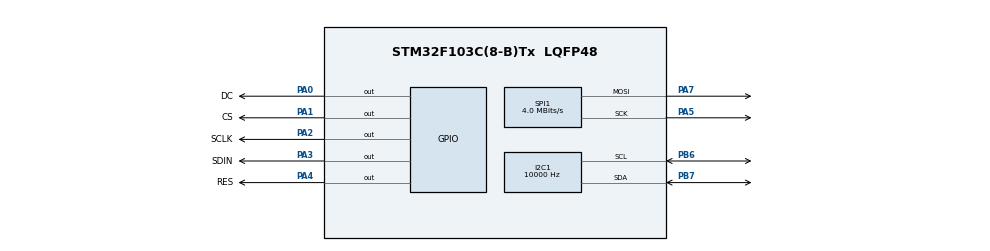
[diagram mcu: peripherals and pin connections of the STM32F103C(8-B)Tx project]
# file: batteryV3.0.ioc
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Dma.I2C1_RX.2.Direction=DMA_PERIPH_TO_MEMORY
Dma.I2C1_RX.2.Instance=DMA1_Channel7
Dma.I2C1_RX.2.MemDataAlignment=DMA_MDATAALIGN_BYTE
Dma.I2C1_RX.2.MemInc=DMA_MINC_ENABLE
Dma.I2C1_RX.2.Mode=DMA_NORMAL
Dma.I2C1_RX.2.PeriphDataAlignment=DMA_PDATAALIGN_BYTE
Dma.I2C1_RX.2.PeriphInc=DMA_PINC_DISABLE
Dma.I2C1_RX.2.Priority=DMA_PRIORITY_LOW
Dma.I2C1_TX.1.Direction=DMA_MEMORY_TO_PERIPH
Dma.I2C1_TX.1.Instance=DMA1_Channel6
Dma.I2C1_TX.1.MemDataAlignment=DMA_MDATAALIGN_BYTE
Dma.I2C1_TX.1.MemInc=DMA_MINC_ENABLE
Dma.I2C1_TX.1.Mode=DMA_NORMAL
Dma.I2C1_TX.1.PeriphDataAlignment=DMA_PDATAALIGN_BYTE
Dma.I2C1_TX.1.PeriphInc=DMA_PINC_DISABLE
Dma.I2C1_TX.1.Priority=DMA_PRIORITY_LOW
Dma.Request0=SPI1_TX
Dma.Request1=I2C1_TX
Dma.Request2=I2C1_RX
Dma.SPI1_TX.0.Direction=DMA_MEMORY_TO_PERIPH
Dma.SPI1_TX.0.Instance=DMA1_Channel3
Dma.SPI1_TX.0.MemDataAlignment=DMA_MDATAALIGN_BYTE
Dma.SPI1_TX.0.MemInc=DMA_MINC_ENABLE
Dma.SPI1_TX.0.Mode=DMA_NORMAL
Dma.SPI1_TX.0.PeriphDataAlignment=DMA_PDATAALIGN_BYTE
Dma.SPI1_TX.0.PeriphInc=DMA_PINC_DISABLE
Dma.SPI1_TX.0.Priority=DMA_PRIORITY_LOW
FREERTOS.Tasks01=defaultTask,0,128,StartDefaultTask,Default,NULL
I2C1.ClockSpeed=10000
I2C1.OwnAddress=0xA
Mcu.Family=STM32F1
Mcu.Name=STM32F103C(8-B)Tx
Mcu.Package=LQFP48
NVIC.DMA1_Channel3_IRQn=true\:5\:0\:false\:false\:true\:true\:false\:true
NVIC.DMA1_Channel6_IRQn=true\:5\:0\:false\:false\:true\:true\:false\:true
NVIC.DMA1_Channel7_IRQn=true\:5\:0\:false\:false\:true\:true\:false\:true
NVIC.I2C1_ER_IRQn=true\:5\:0\:false\:false\:true\:true\:true\:true
NVIC.I2C1_EV_IRQn=true\:5\:0\:false\:false\:true\:true\:true\:true
NVIC.PriorityGroup=NVIC_PRIORITYGROUP_4
NVIC.SPI1_IRQn=true\:5\:0\:false\:false\:true\:true\:true\:true
PA0-WKUP.GPIO_Label=DC
PA0-WKUP.GPIO_ModeDefaultOutputPP=GPIO_MODE_OUTPUT_PP
PA0-WKUP.GPIO_Speed=GPIO_SPEED_FREQ_HIGH
PA0-WKUP.PinState=GPIO_PIN_SET
PA0-WKUP.Signal=GPIO_Output
PA1.GPIO_Label=CS
PA1.GPIO_Speed=GPIO_SPEED_FREQ_HIGH
PA1.PinState=GPIO_PIN_SET
PA1.Signal=GPIO_Output
PA13.Mode=Serial_Wire
PA13.Signal=SYS_JTMS-SWDIO
PA14.Mode=Serial_Wire
PA14.Signal=SYS_JTCK-SWCLK
PA2.GPIO_Label=SCLK
PA2.GPIO_ModeDefaultOutputPP=GPIO_MODE_OUTPUT_PP
PA2.GPIO_Speed=GPIO_SPEED_FREQ_HIGH
PA2.PinState=GPIO_PIN_SET
PA2.Signal=GPIO_Output
PA3.GPIO_Label=SDIN
PA3.GPIO_ModeDefaultOutputPP=GPIO_MODE_OUTPUT_PP
PA3.GPIO_Speed=GPIO_SPEED_FREQ_HIGH
PA3.PinState=GPIO_PIN_SET
PA3.Signal=GPIO_Output
PA4.GPIO_Label=RES
PA4.GPIO_Speed=GPIO_SPEED_FREQ_HIGH
PA4.PinState=GPIO_PIN_SET
PA4.Signal=GPIO_Output
PA5.Mode=TX_Only_Simplex_Unidirect_Master
PA5.Signal=SPI1_SCK
PA7.Mode=TX_Only_Simplex_Unidirect_Master
PA7.Signal=SPI1_MOSI
PB6.Mode=I2C
PB6.Signal=I2C1_SCL
PB7.Mode=I2C
PB7.Signal=I2C1_SDA
ProjectManager.HeapSize=0x200
ProjectManager.StackSize=0x400
ProjectManager.TargetToolchain=STM32CubeIDE
RCC.APB1Freq_Value=8000000
RCC.APB2Freq_Value=8000000
SPI1.BaudRatePrescaler=SPI_BAUDRATEPRESCALER_2
SPI1.CLKPhase=SPI_PHASE_2EDGE
SPI1.CLKPolarity=SPI_POLARITY_HIGH
SPI1.CalculateBaudRate=4.0 MBits/s
SPI1.Direction=SPI_DIRECTION_2LINES
SPI1.Mode=SPI_MODE_MASTER
SPI1.VirtualType=VM_MASTER
VP_FREERTOS_VS_CMSIS_V1.Mode=CMSIS_V1
board=custom

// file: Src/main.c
/* USER CODE BEGIN Header */
/**
  ******************************************************************************
  * @file           : main.c
  * @brief          : Main program body
  ******************************************************************************
  * @attention
  *
  * <h2><center>&copy; Copyright (c) 2020 STMicroelectronics.
  * All rights reserved.</center></h2>
  *
  * This software component is licensed by ST under BSD 3-Clause license,
  * the "License"; You may not use this file except in compliance with the
  * License. You may obtain a copy of the License at:
  *                        opensource.org/licenses/BSD-3-Clause
  *
  ******************************************************************************
  */
/* USER CODE END Header */

#include "main.h"
#include "cmsis_os.h"

/* USER CODE BEGIN Includes */
#include "../SSD1331/ssd1331.h"
#include "../SSD1331/Fonts.h"
#include "../SSD1331/display.h"
#include "../ADS1015/ads1015.h"

/* USER CODE END Includes */

I2C_HandleTypeDef hi2c1;
DMA_HandleTypeDef hdma_i2c1_tx;
DMA_HandleTypeDef hdma_i2c1_rx;

SPI_HandleTypeDef hspi1;
DMA_HandleTypeDef hdma_spi1_tx;

osThreadId defaultTaskHandle;

void SystemClock_Config(void);
static void MX_GPIO_Init(void);
static void MX_DMA_Init(void);
static void MX_I2C1_Init(void);
static void MX_SPI1_Init(void);
void StartDefaultTask(void const * argument);

int main(void)
{

  /* MCU Configuration--------------------------------------------------------*/

  /* Reset of all peripherals, Initializes the Flash interface and the Systick. */
  HAL_Init();

  /* Configure the system clock */
  SystemClock_Config();

  /* Initialize all configured peripherals */
  MX_GPIO_Init();
  MX_DMA_Init();
  MX_I2C1_Init();
  MX_SPI1_Init();

  /* Create the thread(s) */
  /* definition and creation of defaultTask */
  osThreadDef(defaultTask, StartDefaultTask, osPriorityNormal, 0, 128);
  defaultTaskHandle = osThreadCreate(osThread(defaultTask), NULL);

  /* Start scheduler */
  osKernelStart();

  /* We should never get here as control is now taken by the scheduler */

  /* Infinite loop */
  while (1)
  {

  }
}

void SystemClock_Config(void)
{
  RCC_OscInitTypeDef RCC_OscInitStruct = {0};
  RCC_ClkInitTypeDef RCC_ClkInitStruct = {0};

  /** Initializes the CPU, AHB and APB busses clocks
  */
  RCC_OscInitStruct.OscillatorType = RCC_OSCILLATORTYPE_HSI;
  RCC_OscInitStruct.HSIState = RCC_HSI_ON;
  RCC_OscInitStruct.HSICalibrationValue = RCC_HSICALIBRATION_DEFAULT;
  RCC_OscInitStruct.PLL.PLLState = RCC_PLL_NONE;
  if (HAL_RCC_OscConfig(&RCC_OscInitStruct) != HAL_OK)
  {
    Error_Handler();
  }
  /** Initializes the CPU, AHB and APB busses clocks
  */
  RCC_ClkInitStruct.ClockType = RCC_CLOCKTYPE_HCLK|RCC_CLOCKTYPE_SYSCLK
                              |RCC_CLOCKTYPE_PCLK1|RCC_CLOCKTYPE_PCLK2;
  RCC_ClkInitStruct.SYSCLKSource = RCC_SYSCLKSOURCE_HSI;
  RCC_ClkInitStruct.AHBCLKDivider = RCC_SYSCLK_DIV1;
  RCC_ClkInitStruct.APB1CLKDivider = RCC_HCLK_DIV1;
  RCC_ClkInitStruct.APB2CLKDivider = RCC_HCLK_DIV1;

  if (HAL_RCC_ClockConfig(&RCC_ClkInitStruct, FLASH_LATENCY_0) != HAL_OK)
  {
    Error_Handler();
  }
}

static void MX_I2C1_Init(void)
{

  hi2c1.Instance = I2C1;
  hi2c1.Init.ClockSpeed = 10000;
  hi2c1.Init.DutyCycle = I2C_DUTYCYCLE_2;
  hi2c1.Init.OwnAddress1 = 20;
  hi2c1.Init.AddressingMode = I2C_ADDRESSINGMODE_7BIT;
  hi2c1.Init.DualAddressMode = I2C_DUALADDRESS_DISABLE;
  hi2c1.Init.OwnAddress2 = 0;
  hi2c1.Init.GeneralCallMode = I2C_GENERALCALL_DISABLE;
  hi2c1.Init.NoStretchMode = I2C_NOSTRETCH_DISABLE;
  if (HAL_I2C_Init(&hi2c1) != HAL_OK)
  {
    Error_Handler();
  }

}

static void MX_SPI1_Init(void)
{

  /* SPI1 parameter configuration*/
  hspi1.Instance = SPI1;
  hspi1.Init.Mode = SPI_MODE_MASTER;
  hspi1.Init.Direction = SPI_DIRECTION_2LINES;
  hspi1.Init.DataSize = SPI_DATASIZE_8BIT;
  hspi1.Init.CLKPolarity = SPI_POLARITY_HIGH;
  hspi1.Init.CLKPhase = SPI_PHASE_2EDGE;
  hspi1.Init.NSS = SPI_NSS_SOFT;
  hspi1.Init.BaudRatePrescaler = SPI_BAUDRATEPRESCALER_2;
  hspi1.Init.FirstBit = SPI_FIRSTBIT_MSB;
  hspi1.Init.TIMode = SPI_TIMODE_DISABLE;
  hspi1.Init.CRCCalculation = SPI_CRCCALCULATION_DISABLE;
  hspi1.Init.CRCPolynomial = 10;
  if (HAL_SPI_Init(&hspi1) != HAL_OK)
  {
    Error_Handler();
  }

}

static void MX_DMA_Init(void)
{
  /* DMA controller clock enable */
  __HAL_RCC_DMA1_CLK_ENABLE();

  /* DMA interrupt init */
  /* DMA1_Channel3_IRQn interrupt configuration */
  HAL_NVIC_SetPriority(DMA1_Channel3_IRQn, 5, 0);
  HAL_NVIC_EnableIRQ(DMA1_Channel3_IRQn);
  /* DMA1_Channel6_IRQn interrupt configuration */
  HAL_NVIC_SetPriority(DMA1_Channel6_IRQn, 5, 0);
  HAL_NVIC_EnableIRQ(DMA1_Channel6_IRQn);
  /* DMA1_Channel7_IRQn interrupt configuration */
  HAL_NVIC_SetPriority(DMA1_Channel7_IRQn, 5, 0);
  HAL_NVIC_EnableIRQ(DMA1_Channel7_IRQn);

}

static void MX_GPIO_Init(void)
{
  GPIO_InitTypeDef GPIO_InitStruct = {0};

  /* GPIO Ports Clock Enable */
  __HAL_RCC_GPIOA_CLK_ENABLE();
  __HAL_RCC_GPIOB_CLK_ENABLE();

  /*Configure GPIO pin Output Level */
  HAL_GPIO_WritePin(GPIOA, DC_Pin|CS_Pin|SCLK_Pin|SDIN_Pin
                          |RES_Pin, GPIO_PIN_SET);

  /*Configure GPIO pins : DC_Pin CS_Pin SCLK_Pin SDIN_Pin
                           RES_Pin */
  GPIO_InitStruct.Pin = DC_Pin|CS_Pin|SCLK_Pin|SDIN_Pin
                          |RES_Pin;
  GPIO_InitStruct.Mode = GPIO_MODE_OUTPUT_PP;
  GPIO_InitStruct.Pull = GPIO_NOPULL;
  GPIO_InitStruct.Speed = GPIO_SPEED_FREQ_HIGH;
  HAL_GPIO_Init(GPIOA, &GPIO_InitStruct);

}

void StartDefaultTask(void const * argument)
{

  /* USER CODE BEGIN 5 */
	uint8_t txData[8] = {0x00,0x00,0x34,0x45,0x56,0x67,0x78,0x89};
	uint8_t rxData[2] = {0x00,0x00};
	uint8_t data1[3] = {0x01,0x82,0x83};
	uint8_t data2[2] = {0x01,0x00};

//	ADS1015_WriteOneByte (0,1,2);
	ssd1331_init();

	osDelay(100);

//	ssd1331_draw_3216char(0,32,'8',YELLOW);
//	ssd1331_clear_window();
//	ssd1331_draw_3216char(0,0,'5',GREEN);
//	ssd1331_draw_1616GB2312(0,0,"国",BLUE);
//	ssd1331_draw_3232LowVolt(0,0,RED);
//	ssd1331_clear_window();
//	ssd1331_draw_3232LowVolt(0,0,GREEN);
	ssd1331_clear_window(0,0,95,63);
	page_init_display();
	ssd1331_clear_window(0,0,95,63);
	page_volt_display();

//	HAL_I2C_Master_Transmit(&hi2c1, 0x91, data1, 3, 20);
	osDelay(10);
//	HAL_I2C_Master_Receive(&hi2c1, 0x91, data2, 4, 20);
	osDelay(10);

	/*写*/
//	HAL_I2C_Master_Transmit(&hi2c1, 0x91, rxData, 2, 20);
//	ssd1331_write_byte(0xa1,1);

  /* Infinite loop */
  for(;;)
  {

//	  HAL_I2C_Mem_Read_DMA(&hi2c1, 0xA, 0, I2C_MEMADD_SIZE_8BIT, rxData, 8);
//	  HAL_I2C_Mem_Read(&hi2c1, 0xB, 0, I2C_MEMADD_SIZE_8BIT, rxData, 8,0x10);
//	  osDelay(100);
//	  HAL_I2C_Mem_Write_DMA(&hi2c1, 0xB, 0, I2C_MEMADD_SIZE_8BIT, rxData, 8);
//
//	  HAL_I2C_Master_Transmit(&hi2c1, 0x91, txData, 8, 20);
	  /*读*/
	  HAL_I2C_Master_Receive(&hi2c1, 0x91, txData, 4, 20);

//	  OLED_WR_Byte(0xA1,0);
//		ssd1331_draw_3232LowVolt(0,0,RED);
//		ssd1331_draw_3232LowVolt(16,16,RED);

//		ssd1331_clear_window(0,0,15,15);
//		ssd1331_draw_3232LowVolt(0,0,GREEN);
//		ssd1331_clear_window();

//	  HAL_SPI_TransmitReceive_DMA(&hspi1, txData, rxData, 1);

//	  set_next_page(PAGE_VOLT_DISPLAY);
//	  ssd1331_display_string(0,0,"12.67465",16,GREEN);
//    osDelay(1000);
//    ssd1331_display_string(0,0,"12.34567",16,GREEN);
    osDelay(1000);
  }
  /* USER CODE END 5 */
}

void Error_Handler(void)
{
}

/************************ (C) COPYRIGHT STMicroelectronics *****END OF FILE****/
